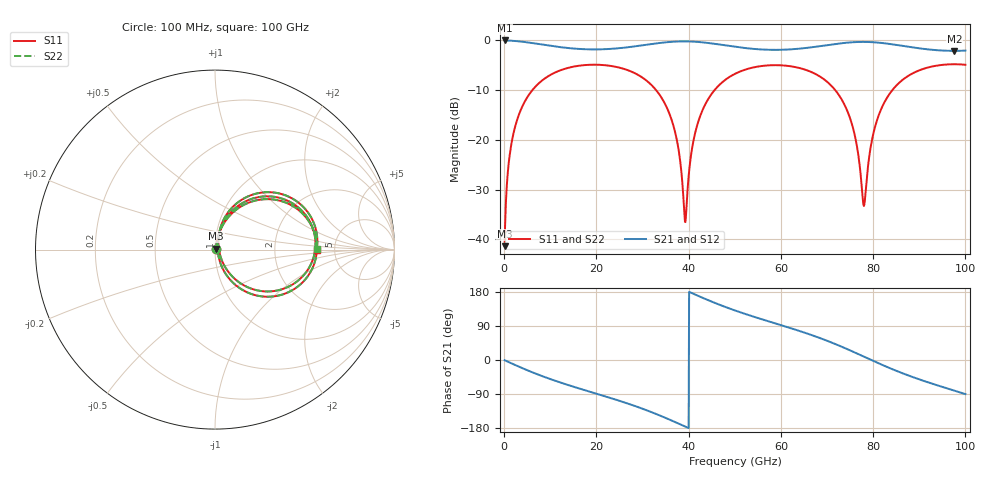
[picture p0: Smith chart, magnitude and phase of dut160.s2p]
! Touchstone file exported from HFSS 2026.1.0
!  File:  C:/ffzhzh/LocalFiles/Ansys_Project_Files/temp_test_TSV_RDL_160_1783465293_50928.aedt
!  Generated:  07:10:17 AM Jul  8, 2026
!  Design:  TSV_RDL
!  Project:  temp_test_TSV_RDL_160_1783465293_50928
! Variables:
!  h_bsmrdl = 4.28um
!  h_ox = 20um
!  h_rdl = 5um
!  h_sub = 61.01um
!  h_tmrdl = 4.06um
!  h_tsv = 61.01um
!  h_via = 3um
!  l_bsmrdl = 204.19um
!  l_sub = 1582.22um
!  l_tmrdl = 109.81um
!  m_sub = 200um
!  pitch = 58.68um
!  r_tsv = 7.19um
!  s_tmrdl = 10um
!  w_bsmrdl = 22.66um
!  w_sub = 500um
!  w_tmrdl = 20.81um
!  x_tsv_center1 = 120.215um
!  x_tsv_center2 = 347.065um
!  x_tsv_center3 = 477.685um
!  x_tsv_center4 = 704.535um
!  x_tsv_center5 = 835.155um
!  x_tsv_center6 = 1062.005um
# GHz S MA R 50.000000
! Terminal data exported
! Port[1] = TM_RDL1_1_T1
! Port[2] = TM_RDL5_1_T1
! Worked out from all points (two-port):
!   1000 points, 100 MHz to 100 GHz, reference 50 ohm
!   highest |S21| = -0.05 dB at 100 MHz (marker M1); lowest = -2.1 dB at 97.6 GHz (marker M2)
!   |S21| within 3 dB of the highest: start of sweep to end of sweep
!   lowest |S11| = -41.3 dB at 100 MHz (marker M3), VSWR 1.02, Z = 50.6 + j0.616 ohm
!   |S11| at or under -10 dB: start of sweep to 6.142 GHz; 32.93 GHz to 45.63 GHz (12.71 GHz wide, 32.4 % of centre); 71.76 GHz to 84.18 GHz (12.42 GHz wide, 15.9 % of centre)
!   |S22| runs from -41.3 to -4.8 dB; largest |S21 - S12| = 1.8e-14
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0.1  0.00857 45.2  0.994 -0.6  0.994 -0.6  0.00857 45.2
! Gamma 0 0 0 0
! Port Impedance 50 0 50 0
1.4  0.08145 76.7  0.9889 -7.8  0.9889 -7.8  0.08145 76.7
4  0.2193 65.3  0.9646 -21.8  0.9646 -21.8  0.2193 65.3
9  0.4187 42.1  0.8931 -45.9  0.8931 -45.9  0.4187 42.1
16.8  0.5586 11.5  0.8144 -77.2  0.8144 -77.2  0.5586 11.5
24.6  0.5358 -16.6  0.8286 -106.1  0.8286 -106.1  0.5357 -16.6
33.4  0.2963 -53.2  0.9338 -144.7  0.9338 -144.7  0.2963 -53.2
37.1  0.1176 -67.8  0.9683 -163.9  0.9683 -163.9  0.1176 -67.8
39.3  0.01495 12.6  0.9734 -175.9  0.9734 -175.9  0.01492 12.7
40.8  0.08522 75.2  0.9689 176.0  0.9689 176.0  0.08523 75.2
42.6  0.1782 70.9  0.9557 166.3  0.9557 166.3  0.1782 71.0
50.1  0.461 38.7  0.8588 130.5  0.8588 130.5  0.461 38.7
58.6  0.5617 6.7  0.8 97.3  0.8 97.3  0.5617 6.7
66.7  0.4771 -23.7  0.8493 65.7  0.8493 65.7  0.4772 -23.6
74.3  0.2001 -55.7  0.9441 29.2  0.9441 29.2  0.2001 -55.7
76.2  0.1016 -59.7  0.9575 18.9  0.9575 18.9  0.1017 -59.7
78  0.02168 9.1  0.9613 8.9  0.9613 8.9  0.02161 9.0
80.2  0.1238 76.1  0.9528 -3.3  0.9528 -3.3  0.1237 76.2
83.4  0.2824 65.1  0.9194 -20.4  0.9194 -20.4  0.2823 65.1
89.4  0.4852 39.5  0.8358 -48.6  0.8358 -48.6  0.4852 39.5
97.6  0.5738 8.7  0.7815 -80.9  0.7815 -80.9  0.5738 8.8
100  0.5666 0.0  0.7861 -90.0  0.7861 -90.0  0.5666 0.1
